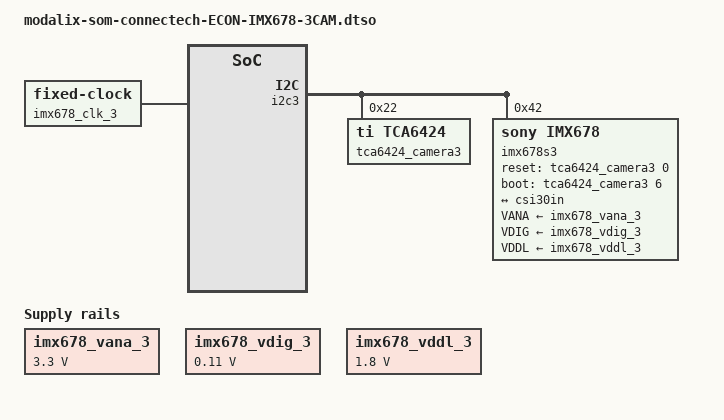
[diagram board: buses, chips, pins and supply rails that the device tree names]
// SPDX-License-Identifier: (GPL-2.0+ OR MIT)
/*
 * Copyright (c) 2026 SiMa ai
 */

/dts-v1/;
/plugin/;

#include "modalix-som-connectech-3CAM.dtsi"

&{/} {
    imx678_vana_3: csi3_fixedregulator@0 {
        compatible = "regulator-fixed";
        regulator-name = "imx678_vana_3";
        regulator-min-microvolt = <3300000>;
        regulator-max-microvolt = <3300000>;
        enable-active-high;
        startup-delay-us = <300000>;
        regulator-always-on;
    };

    imx678_vdig_3: csi3_fixedregulator@1 {
        compatible = "regulator-fixed";
        regulator-name = "imx678_vdig_3";
        regulator-min-microvolt = <110000>;
        regulator-max-microvolt = <110000>;
        regulator-always-on;
    };

    imx678_vddl_3: csi3_fixedregulator@2 {
        compatible = "regulator-fixed";
        regulator-name = "imx678_vddl_3";
        regulator-min-microvolt = <1800000>;
        regulator-max-microvolt = <1800000>;
        regulator-always-on;
    };

    imx678_clk_3: csi3_camera-clk {
        compatible = "fixed-clock";
        #clock-cells = <0>;
        clock-frequency = <24000000>;
    };
};

&csi30in {
    clock-lanes = <0>;
    data-lanes = <1 2>;
    link-frequencies = /bits/ 64 <1040000000>;
    remote-endpoint = <&cam30out>;
    clock-continuous;
};

&i2c3 {
    tca6424_camera3: tca6424@22 {
        compatible = "ti,tca6424";
        gpio-controller;
        #gpio-cells = <2>;
        reg = <0x22>;
        status = "okay";
    };

    imx678s3: imx678@42 {
        compatible = "sony,imx678";
        reg = <0x42>;

        clocks = <&imx678_clk_3>;
        clock-names = "xclk";

        VANA-supply = <&imx678_vana_3>;
        VDIG-supply = <&imx678_vdig_3>;
        VDDL-supply = <&imx678_vddl_3>;

        reset-gpios = <&tca6424_camera3 0 0>;
        boot-gpios = <&tca6424_camera3 6 0>;

        camera_mipi_lanes = <2>;
        cam_fw_name = "imx678_cam_fw.bin";

        port@1 {
            cam30out: endpoint@0 {
                clock-lanes = <0>;
                data-lanes = <1 2>;
                link-frequencies = /bits/ 64 <1040000000>;
                remote-endpoint = <&csi30in>;
                clock-continuous;
            };
        };
    };
};
